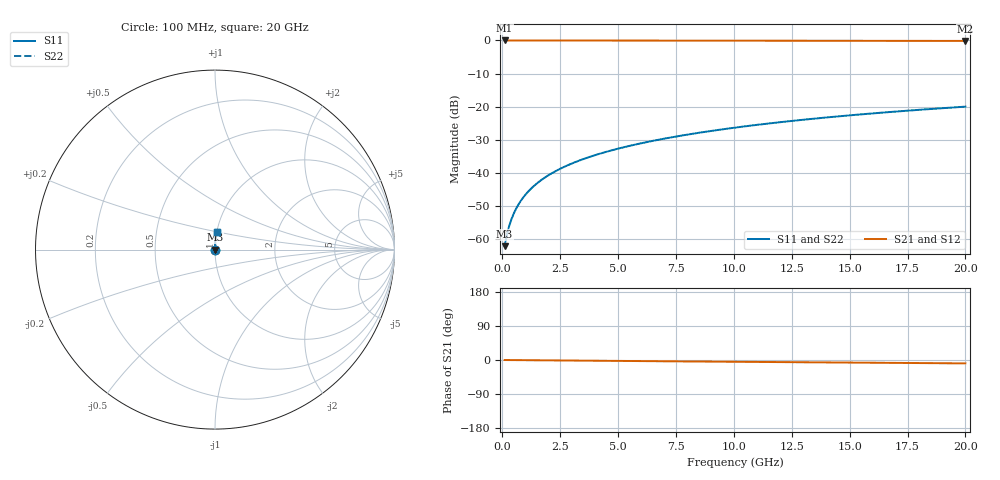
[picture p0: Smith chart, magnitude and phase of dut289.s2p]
! Touchstone file exported from HFSS 2024.1.0
!  File:  C:/UserFiles/LocalFiles/RDL_TSV_Batchsim/temp_RDL_bottom_289_1778703308.aedt
!  Generated:  04:17:27 AM May 14, 2026
!  Design:  RDL_bottom
!  Project:  temp_RDL_bottom_289_1778703308
!  Setup:  Setup1
!  Solution:  Sweep
! Variables:
!  dtsv = 10.80580581um
!  hbump = 3um
!  htsv = 83.67um
!  ldown = 110.65um
!  lrdl = 100um
!  p = 40
!  p1 = 40.2um
!  rhole = 1um
!  t = 450um
!  tdown = 4.79um
!  trdl = 3.915915916um
!  wdown = 18.44um
!  wrdl = 20um
# GHz S MA R 50.000000
! Terminal data exported
! Port[1] = RDL1_T1
! Port[2] = RDL1_T2
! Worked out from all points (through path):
!   200 points, 100 MHz to 20 GHz, reference 50 ohm
!   highest |S21| = -0.01 dB at 100 MHz (marker M1); lowest = -0.2 dB at 20 GHz (marker M2)
!   group delay of S21, straight-line fit = 1.23 ps
!   lowest |S11| = -62.2 dB at 100 MHz (marker M3), VSWR 1.00, Z = 50.1 + j0.0498 ohm
!   |S11| at or under -10 dB: start of sweep to end of sweep
!   |S22| runs from -62.2 to -20.0 dB; largest |S21 - S12| = 4.1e-15
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0.1  0.0007752 39.9  0.9994 -0.1  0.9994 -0.1  0.0007752 39.9
! Gamma 0 0 0 0
! Port Impedance 50 0 50 0
0.2  0.001157 57.4  0.9994 -0.1  0.9994 -0.1  0.001157 57.4
0.3  0.001576 65.7  0.9993 -0.2  0.9993 -0.2  0.001576 65.7
0.4  0.002004 70.6  0.9993 -0.2  0.9993 -0.2  0.002004 70.6
0.5  0.002437 73.9  0.9993 -0.3  0.9993 -0.3  0.002437 73.9
0.6  0.002875 76.2  0.9993 -0.3  0.9993 -0.3  0.002875 76.2
0.8  0.003761 79.4  0.9992 -0.4  0.9992 -0.4  0.003761 79.4
1.1  0.005106 82.2  0.9991 -0.6  0.9991 -0.6  0.005106 82.2
1.5  0.006915 84.2  0.999 -0.8  0.999 -0.8  0.006915 84.2
1.8  0.008279 85.2  0.9989 -0.9  0.9989 -0.9  0.008279 85.2
2.1  0.009647 86.0  0.9987 -1.1  0.9987 -1.1  0.009647 86.0
2.7  0.0124 86.9  0.9984 -1.3  0.9984 -1.3  0.0124 86.9
3.5  0.01609 87.8  0.9978 -1.7  0.9978 -1.7  0.01609 87.8
4.2  0.01935 88.3  0.9973 -2.1  0.9973 -2.1  0.01935 88.3
5  0.02312 88.6  0.9966 -2.4  0.9966 -2.4  0.02312 88.6
5.9  0.02742 88.9  0.9957 -2.9  0.9957 -2.9  0.02742 88.9
6.8  0.03179 89.1  0.9949 -3.3  0.9949 -3.3  0.03179 89.1
8.4  0.03971 89.1  0.9933 -4.0  0.9933 -4.0  0.03971 89.1
10.1  0.04831 88.8  0.9917 -4.7  0.9917 -4.7  0.04831 88.8
13.4  0.06535 87.7  0.9886 -6.2  0.9886 -6.2  0.06535 87.7
16.7  0.08256 86.2  0.9857 -7.6  0.9857 -7.6  0.08256 86.2
20  0.09974 84.6  0.9828 -8.9  0.9828 -8.9  0.09974 84.6
